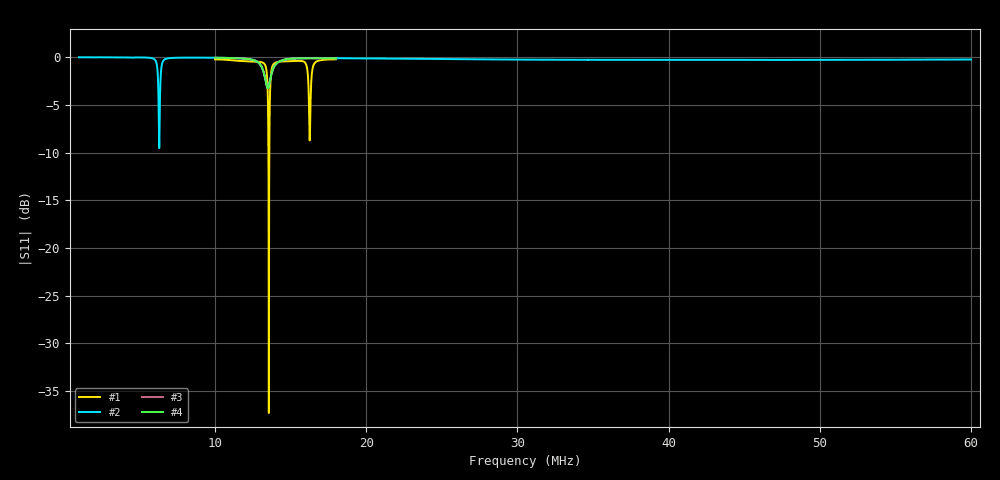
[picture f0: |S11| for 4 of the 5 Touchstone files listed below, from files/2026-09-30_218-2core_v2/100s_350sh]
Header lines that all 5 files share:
! NanoVNA Web complex sweep
# Hz S RI R 50
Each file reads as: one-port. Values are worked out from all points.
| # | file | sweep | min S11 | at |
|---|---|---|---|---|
| 1 | 2026-09-30_AIT_T1.47_L1.23_218_CD_100s_3x100+30p_nanovna-sweep-1790801432495.s1p | 10 MHz to 18 MHz | -37.3 dB | 13.56 MHz |
| 2 | 2026-09-30_NET_218_CD_100s_3x100+50p_1-60M_nanovna-sweep-1790800216779.s1p | 1 MHz to 60 MHz | -9.5 dB | 6.31 MHz |
| 3 | 2026-09-30_NET_218_CD_100s_3x100+50p_10-18M_s1_nanovna-sweep-1790800131557.s1p | 10 MHz to 18 MHz | -3.2 dB | 13.5 MHz |
| 4 | 2026-09-30_NET_218_CD_100s_3x100+50p_10-18M_s2_nanovna-sweep-1790800167140.s1p | 10 MHz to 18 MHz | -3.2 dB | 13.49 MHz |
| 5 | 2026-09-30_NET_218_CD_100s_3x100+50p_10-18M_s3_nanovna-sweep-1790800178702.s1p | 10 MHz to 18 MHz | -3.2 dB | 13.5 MHz |
